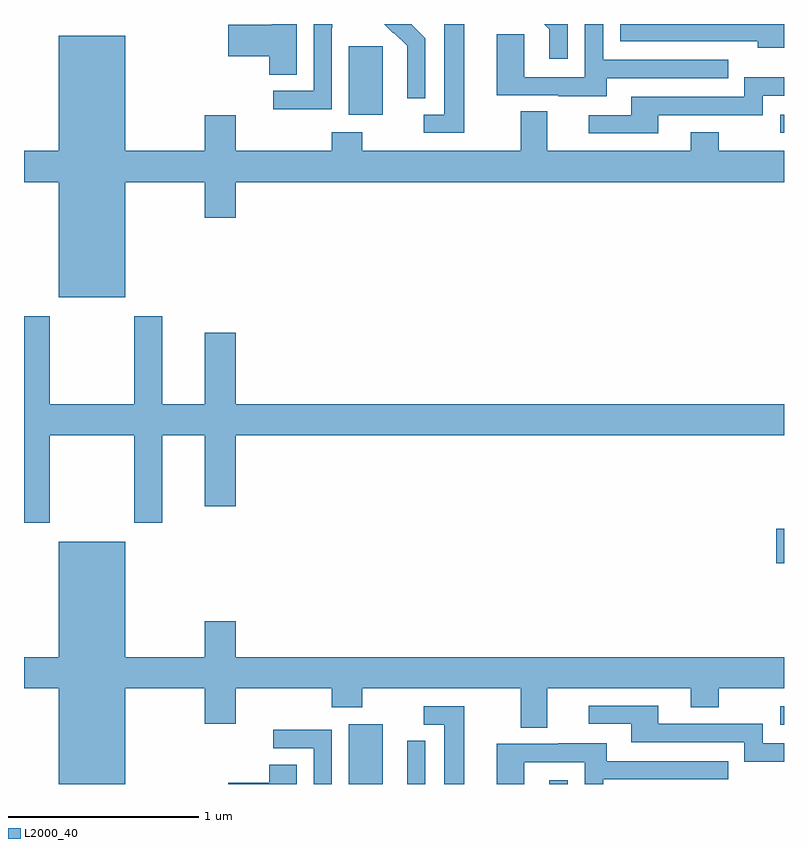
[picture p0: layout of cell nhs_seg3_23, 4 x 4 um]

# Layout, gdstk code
import gdstk
lib = gdstk.Library(unit=1e-6, precision=1e-09)
def R(c, l, rs):  # rectangles x0, y0, x1, y1
    for r in rs: c.add(gdstk.rectangle(r[:2], r[2:], *l))
def P(c, l, *ps):  # polygons
    for p in ps: c.add(gdstk.Polygon(p, *l))
L2000_40 = (2000, 40)

nhs_seg3_23 = lib.new_cell('nhs_seg3_23')
R(nhs_seg3_23, L2000_40, [(112.709,712.4,112.888,712.714), (113.765,712.4,113.862,712.42), (114.981,712.713,115,712.809), (114.96,713.561,115,713.744), (114.981,715.827,115,715.923), (112.709,715.922,112.888,716.283)])
P(nhs_seg3_23, L2000_40, [(113.317,716.4),(113.213,716.4),(113.213,715.923),(113.103,715.923),(113.103,715.827),(113.317,715.827)],
  [(113.862,716.4),(113.738,716.4),(113.765,716.373),(113.765,716.217),(113.862,716.217)],
  [(114.067,716.115),(114.707,716.115),(114.707,716.211),(114.048,716.211),(114.048,716.4),(113.952,716.4),(113.952,716.121),(113.634,716.121),(113.634,716.345),(113.489,716.345),(113.489,716.025),(113.813,716.025),(113.813,716.021),(114.067,716.021)],
  [(112.435,716.4),(112.304,716.4),(112.304,716.395),(112.074,716.395),(112.074,716.23),(112.292,716.23),(112.292,716.134),(112.435,716.134)],
  [(115,716.4),(114.138,716.4),(114.138,716.31),(114.863,716.31),(114.863,716.276),(115,716.276)],
  [(113.112,716.326),(113.039,716.399),(113.04,716.4),(112.896,716.4),(112.944,716.352),(112.947,716.355),(113.018,716.285),(113.018,716.162),(113.016,716.162),(113.016,716.008),(113.112,716.008)],
  [(112.62,716.38),(112.623,716.38),(112.623,716.4),(112.524,716.4),(112.524,716.049),(112.311,716.049),(112.311,715.951),(112.62,715.951)],
  [(111.532,715.568),(111.95,715.568),(111.95,715.38),(112.114,715.38),(112.114,715.568),(115,715.568),(115,715.732),(114.657,715.732),(114.657,715.831),(114.509,715.831),(114.509,715.732),(113.755,715.732),(113.755,715.94),(113.615,715.94),(113.615,715.732),(112.779,715.732),(112.779,715.831),(112.619,715.831),(112.619,715.732),(112.114,715.732),(112.114,715.921),(111.95,715.921),(111.95,715.732),(111.532,715.732),(111.532,716.338),(111.182,716.338),(111.182,715.732),(111,715.732),(111,715.568),(111.182,715.568),(111.182,714.962),(111.532,714.962)],
  [(114.337,715.92),(114.888,715.92),(114.888,716.022),(115,716.022),(115,716.119),(114.792,716.119),(114.792,716.016),(114.197,716.016),(114.197,715.92),(113.973,715.92),(113.973,715.824),(114.337,715.824)],
  [(111.135,714.236),(111.58,714.236),(111.58,713.775),(111.727,713.775),(111.727,714.236),(111.95,714.236),(111.95,713.862),(112.114,713.862),(112.114,714.236),(115,714.236),(115,714.4),(112.114,714.4),(112.114,714.775),(111.95,714.775),(111.95,714.4),(111.727,714.4),(111.727,714.862),(111.58,714.862),(111.58,714.4),(111.135,714.4),(111.135,714.862),(111,714.862),(111,713.775),(111.135,713.775)],
  [(111.532,712.904),(111.95,712.904),(111.95,712.716),(112.114,712.716),(112.114,712.904),(112.619,712.904),(112.619,712.805),(112.779,712.805),(112.779,712.904),(113.615,712.904),(113.615,712.696),(113.755,712.696),(113.755,712.904),(114.509,712.904),(114.509,712.805),(114.657,712.805),(114.657,712.904),(115,712.904),(115,713.068),(112.114,713.068),(112.114,713.257),(111.95,713.257),(111.95,713.068),(111.532,713.068),(111.532,713.674),(111.182,713.674),(111.182,713.068),(111,713.068),(111,712.904),(111.182,712.904),(111.182,712.4),(111.532,712.4)],
  [(115,712.614),(114.888,712.614),(114.888,712.716),(114.337,712.716),(114.337,712.812),(113.973,712.812),(113.973,712.716),(114.197,712.716),(114.197,712.62),(114.792,712.62),(114.792,712.517),(115,712.517)],
  [(113.317,712.809),(113.103,712.809),(113.103,712.713),(113.213,712.713),(113.213,712.4),(113.317,712.4)],
  [(112.62,712.686),(112.311,712.686),(112.311,712.587),(112.524,712.587),(112.524,712.4),(112.62,712.4)],
  [(113.112,712.628),(113.016,712.628),(113.016,712.474),(113.018,712.474),(113.018,712.4),(113.112,712.4)],
  [(113.634,712.515),(113.952,712.515),(113.952,712.4),(114.048,712.4),(114.048,712.425),(114.707,712.425),(114.707,712.521),(114.067,712.521),(114.067,712.615),(113.813,712.615),(113.813,712.611),(113.489,712.611),(113.489,712.4),(113.634,712.4)],
  [(112.435,712.502),(112.292,712.502),(112.292,712.407),(112.074,712.407),(112.074,712.4),(112.435,712.4)])

lib.write_gds('nhs_seg3_23.gds')
